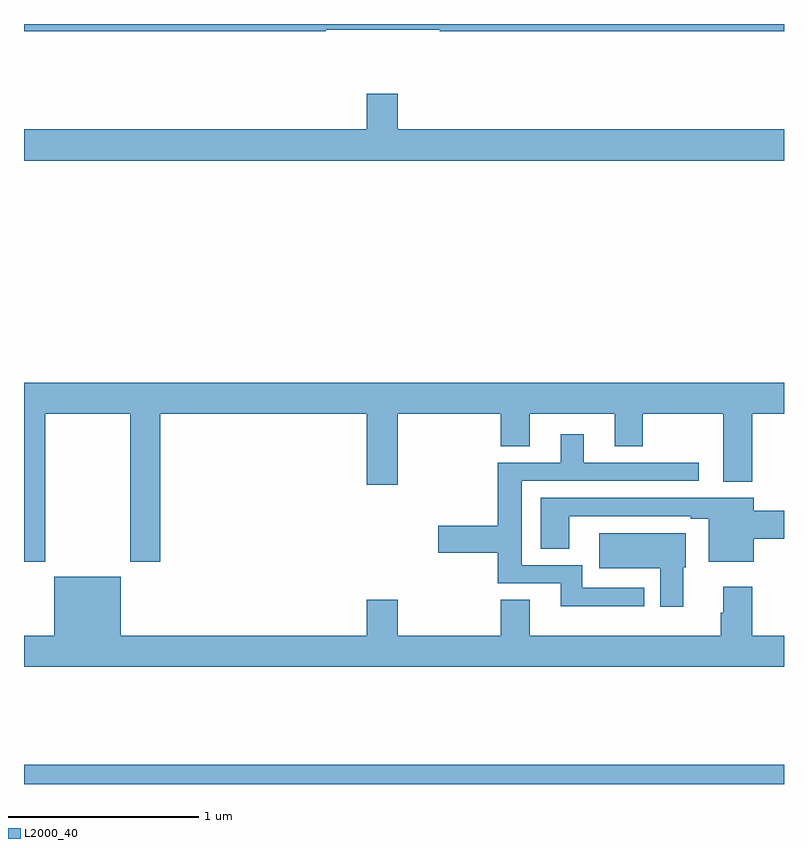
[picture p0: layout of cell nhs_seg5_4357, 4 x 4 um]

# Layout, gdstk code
import gdstk
lib = gdstk.Library(unit=1e-6, precision=1e-09)
def R(c, l, rs):  # rectangles x0, y0, x1, y1
    for r in rs: c.add(gdstk.rectangle(r[:2], r[2:], *l))
def P(c, l, *ps):  # polygons
    for p in ps: c.add(gdstk.Polygon(p, *l))
L2000_40 = (2000, 40)

nhs_seg5_4357 = lib.new_cell('nhs_seg5_4357')
R(nhs_seg5_4357, L2000_40, [(367,866.799,371,866.9)])
P(nhs_seg5_4357, L2000_40, [(368.588,870.768),(369.188,870.768),(369.188,870.76),(371,870.76),(371,870.799),(367,870.799),(367,870.76),(368.588,870.76)],
  [(371,870.244),(368.968,870.244),(368.968,870.433),(368.804,870.433),(368.804,870.244),(367,870.244),(367,870.08),(371,870.08)],
  [(367.113,868.748),(367.558,868.748),(367.558,867.969),(367.718,867.969),(367.718,868.748),(368.804,868.748),(368.804,868.374),(368.968,868.374),(368.968,868.748),(369.509,868.748),(369.509,868.576),(369.661,868.576),(369.661,868.748),(370.109,868.748),(370.109,868.576),(370.257,868.576),(370.257,868.748),(370.679,868.748),(370.679,868.391),(370.832,868.391),(370.832,868.748),(371,868.748),(371,868.912),(367,868.912),(367,867.969),(367.113,867.969)],
  [(370.264,867.831),(369.937,867.831),(369.937,867.951),(369.619,867.951),(369.619,868.395),(370.552,868.395),(370.552,868.491),(369.946,868.491),(369.946,868.639),(369.824,868.639),(369.824,868.491),(369.494,868.491),(369.494,868.157),(369.18,868.157),(369.18,868.015),(369.494,868.015),(369.494,867.855),(369.824,867.855),(369.824,867.734),(370.264,867.734)],
  [(370.84,868.091),(371,868.091),(371,868.238),(370.84,868.238),(370.84,868.305),(369.719,868.305),(369.719,868.038),(369.871,868.038),(369.871,868.209),(370.508,868.209),(370.508,868.196),(370.604,868.196),(370.604,867.968),(370.84,867.968)],
  [(370.471,867.939),(370.482,867.939),(370.482,868.119),(370.379,868.119),(370.379,868.12),(370.028,868.12),(370.028,867.935),(370.349,867.935),(370.349,867.732),(370.471,867.732)],
  [(371,867.58),(370.832,867.58),(370.832,867.838),(370.679,867.838),(370.679,867.701),(370.667,867.701),(370.667,867.58),(369.661,867.58),(369.661,867.77),(369.509,867.77),(369.509,867.58),(368.968,867.58),(368.968,867.769),(368.804,867.769),(368.804,867.58),(367.51,867.58),(367.51,867.889),(367.16,867.889),(367.16,867.58),(367,867.58),(367,867.416),(371,867.416)])

lib.write_gds('nhs_seg5_4357.gds')
